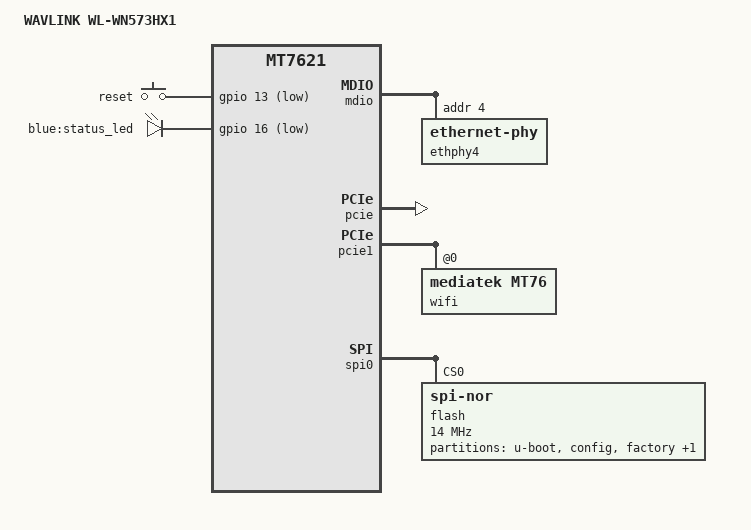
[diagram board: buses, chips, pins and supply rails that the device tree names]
// SPDX-License-Identifier: GPL-2.0-or-later OR MIT

#include "mt7621.dtsi"

#include <dt-bindings/gpio/gpio.h>
#include <dt-bindings/input/input.h>

/ {
	compatible = "wavlink,wl-wn573hx1", "mediatek,mt7621-soc";
	model = "WAVLINK WL-WN573HX1";

	aliases {
		led-boot = &led_status_blue;
		led-failsafe = &led_status_blue;
		led-running = &led_status_blue;
		led-upgrade = &led_status_blue;
		label-mac-device = &gmac0;
	};

	chosen {
		bootargs = "console=ttyS0,115200";
	};

	keys {
		compatible = "gpio-keys";

		reset {
			label = "reset";
			gpios = <&gpio 13 GPIO_ACTIVE_LOW>;
			linux,code = <KEY_RESTART>;
		};
	};

	leds {
		compatible = "gpio-leds";

		led_status_blue:status_led {
			label = "blue:status_led";
			gpios = <&gpio 16 GPIO_ACTIVE_LOW>;
		};

	};
};

&gmac0 {
	nvmem-cells = <&macaddr_factory_3fff4>;
	nvmem-cell-names = "mac-address";
};

&mdio {
	ethphy4: ethernet-phy@4 {
		reg = <4>;
	};
};

&pcie {
	status = "okay";
};

&pcie1 {
	wifi@0,0 {
		compatible = "mediatek,mt76";
		reg = <0x0000 0 0 0 0>;
		mediatek,mtd-eeprom = <&factory 0x0>;
	};
};

&spi0 {
	status = "okay";
	flash@0 {
		compatible = "jedec,spi-nor";
		reg = <0>;
		spi-max-frequency = <14000000>;
		partitions {
			compatible = "fixed-partitions";
			#address-cells = <1>;
			#size-cells = <1>;

			partition@0 {
				label = "u-boot";
				reg = <0x00000 0x30000>;
			};

			partition@30000 {
				label = "config";
				reg = <0x30000 0x10000>;
			};

			factory:partition@50000 {
				label = "factory";
				reg = <0x50000 0x40000>;
			};

			partition@90000 {
				compatible = "denx,uimage";
				label = "firmware";
				reg = <0x90000 0xf70000>;
			};
		};
	};
};

&gmac0 {
	nvmem-cells = <&macaddr_factory_3fff4>;
	nvmem-cell-names = "mac-address";
};

&mdio {
	ethphy4: ethernet-phy@4 {
		reg = <4>;
	};
};

&switch0 {
	ports {
		port@3 {
			status = "okay";
			label = "lan";
		};
	};
};


&factory {
	compatible = "nvmem-cells";
	#address-cells = <1>;
	#size-cells = <1>;

	macaddr_factory_3fff4: macaddr@3fff4 {
		reg = <0x3fff4 0x6>;
	};

};
